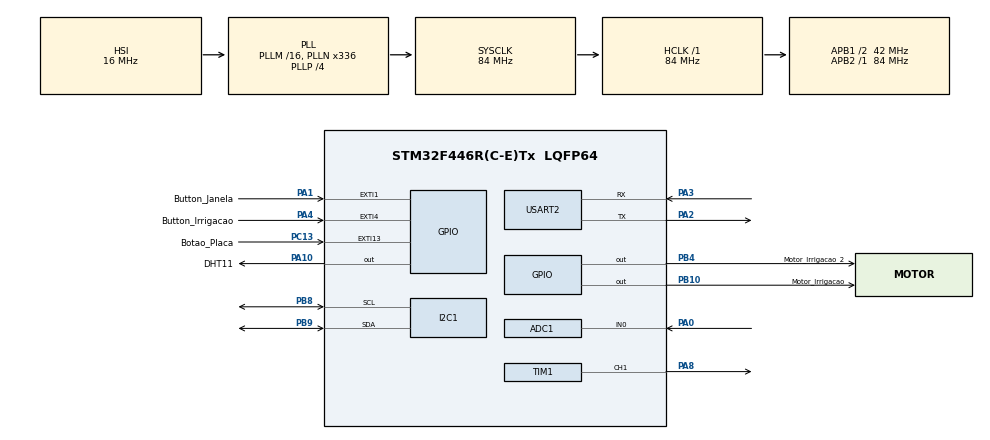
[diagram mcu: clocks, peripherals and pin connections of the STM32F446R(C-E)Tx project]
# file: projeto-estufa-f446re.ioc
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ADC1.Channel-0\#ChannelRegularConversion=ADC_CHANNEL_0
ADC1.ContinuousConvMode=DISABLE
ADC1.NbrOfConversionFlag=1
ADC1.Rank-0\#ChannelRegularConversion=1
ADC1.Resolution=ADC_RESOLUTION_8B
ADC1.SamplingTime-0\#ChannelRegularConversion=ADC_SAMPLETIME_3CYCLES
ADC1.master=1
I2C1.I2C_Mode=I2C_Fast
Mcu.Family=STM32F4
Mcu.Name=STM32F446R(C-E)Tx
Mcu.Package=LQFP64
NVIC.EXTI15_10_IRQn=true\:0\:0\:false\:false\:true\:true\:true\:true
NVIC.EXTI1_IRQn=true\:0\:0\:false\:false\:true\:true\:true\:true
NVIC.EXTI4_IRQn=true\:0\:0\:false\:false\:true\:true\:true\:true
NVIC.PriorityGroup=NVIC_PRIORITYGROUP_0
NVIC.TIM7_IRQn=true\:0\:0\:false\:false\:true\:true\:true\:true
NVIC.TIM8_TRG_COM_TIM14_IRQn=true\:0\:0\:false\:false\:true\:true\:true\:true
PA0-WKUP.Signal=ADCx_IN0
PA1.GPIO_Label=Button_Janela
PA1.GPIO_PuPd=GPIO_PULLUP
PA1.Signal=GPXTI1
PA10.GPIO_Label=DHT11
PA10.GPIO_Speed=GPIO_SPEED_FREQ_VERY_HIGH
PA10.PinState=GPIO_PIN_SET
PA10.Signal=GPIO_Output
PA13.GPIO_Label=TMS
PA13.Signal=SYS_JTMS-SWDIO
PA14.GPIO_Label=TCK
PA14.Signal=SYS_JTCK-SWCLK
PA2.Mode=Asynchronous
PA2.Signal=USART2_TX
PA3.Mode=Asynchronous
PA3.Signal=USART2_RX
PA4.GPIO_Label=Button_Irrigacao
PA4.GPIO_ModeDefaultEXTI=GPIO_MODE_IT_RISING
PA4.GPIO_PuPd=GPIO_PULLUP
PA4.Signal=GPXTI4
PA8.Signal=S_TIM1_CH1
PB10.GPIO_Label=Motor_Irrigacao
PB10.GPIO_ModeDefaultOutputPP=GPIO_MODE_OUTPUT_PP
PB10.GPIO_PuPd=GPIO_NOPULL
PB10.GPIO_Speed=GPIO_SPEED_FREQ_LOW
PB10.PinState=GPIO_PIN_SET
PB10.Signal=GPIO_Output
PB3.GPIO_Label=SWO
PB3.Signal=SYS_JTDO-SWO
PB4.GPIO_Label=Motor_Irrigacao_2
PB4.GPIO_PuPd=GPIO_NOPULL
PB4.PinState=GPIO_PIN_SET
PB4.Signal=GPIO_Output
PB8.Mode=I2C
PB8.Signal=I2C1_SCL
PB9.Mode=I2C
PB9.Signal=I2C1_SDA
PC13.GPIO_Label=Botao_Placa
PC13.GPIO_PuPd=GPIO_PULLUP
PC13.Signal=GPXTI13
PC14-OSC32_IN.Signal=RCC_OSC32_IN
PC15-OSC32_OUT.Signal=RCC_OSC32_OUT
PH0-OSC_IN.Signal=RCC_OSC_IN
PH1-OSC_OUT.Signal=RCC_OSC_OUT
ProjectManager.HeapSize=0x200
ProjectManager.StackSize=0x400
ProjectManager.TargetToolchain=STM32CubeIDE
RCC.AHBFreq_Value=84000000
RCC.APB1CLKDivider=RCC_HCLK_DIV2
RCC.APB1Freq_Value=42000000
RCC.APB1TimFreq_Value=84000000
RCC.APB2Freq_Value=84000000
RCC.APB2TimFreq_Value=84000000
RCC.CortexFreq_Value=84000000
RCC.FLatency-AdvancedSettings=FLASH_LATENCY_2
RCC.HCLKFreq_Value=84000000
RCC.HSE_VALUE=8000000
RCC.HSI_VALUE=16000000
RCC.LSE_VALUE=32768
RCC.PLLN=336
RCC.PLLP=RCC_PLLP_DIV4
RCC.SYSCLKFreq_VALUE=84000000
RCC.SYSCLKSource=RCC_SYSCLKSOURCE_PLLCLK
RCC.USBFreq_Value=168000000
RCC.VCOOutputFreq_Value=336000000
SH.ADCx_IN0.0=ADC1_IN0,IN0
SH.S_TIM1_CH1.0=TIM1_CH1,PWM Generation1 CH1
TIM1.Channel-PWM\ Generation1\ CH1=TIM_CHANNEL_1
TIM1.CounterMode=TIM_COUNTERMODE_UP
TIM1.Period=20000-1
TIM1.Prescaler=84-1
TIM14.Period=1000-1
TIM14.Prescaler=84-1
TIM7.Period=8000-1
TIM7.Prescaler=42000-1
USART2.VirtualMode=VM_ASYNC
VP_TIM14_VS_ClockSourceINT.Mode=Enable_Timer
VP_TIM1_VS_ClockSourceINT.Mode=Internal
VP_TIM7_VS_ClockSourceINT.Mode=Enable_Timer
board=NUCLEO-F446RE

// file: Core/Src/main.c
/* USER CODE BEGIN Header */
/**
  ******************************************************************************
  * @file           : main.c
  * @brief          : Main program body
  ******************************************************************************
  * @attention
  *
  * Copyright (c) 2024 STMicroelectronics.
  * All rights reserved.
  *
  * This software is licensed under terms that can be found in the LICENSE file
  * in the root directory of this software component.
  * If no LICENSE file comes with this software, it is provided AS-IS.
  *
  ******************************************************************************
  */
/* USER CODE END Header */
#include "main.h"

/* USER CODE BEGIN Includes */
#include "DHT.h"
#include "stdio.h"
#include "string.h"
#include "TSL2561.h"
#include <ssd1306.h>
#include <ssd1306_fonts.h>

/* USER CODE END Includes */

/* USER CODE BEGIN PD */
#define TSL2561_ADDR 0x39
/* USER CODE END PD */

ADC_HandleTypeDef hadc1;

I2C_HandleTypeDef hi2c1;

TIM_HandleTypeDef htim1;
TIM_HandleTypeDef htim7;
TIM_HandleTypeDef htim14;

UART_HandleTypeDef huart2;

/* USER CODE BEGIN PV */
TSL2561 tslSensor;
DHT_DataTypedef DHT11_Data;

float temperatura, umidade, luminosidade;
uint8_t flag_janela = 0; // Flag que permite o controle manual da janela
int8_t flag_telas = 0; // Flag que controla a mudança de telas
int8_t flag_rele = 0; //
uint8_t flag_rele_ativar = 0; //
int8_t flag_atualizar_telas = 0; // Quando uma interrupção (temporizador ou botão) é chamada, esta flag permite atualizar os dados da tela

/* USER CODE END PV */

void SystemClock_Config(void);
static void MX_GPIO_Init(void);
static void MX_USART2_UART_Init(void);
static void MX_I2C1_Init(void);
static void MX_TIM7_Init(void);
static void MX_TIM1_Init(void);
static void MX_ADC1_Init(void);
static void MX_TIM14_Init(void);
/* USER CODE BEGIN PFP */

void tela_controle_janela(void);
void tela_controle_irrigacao(void);
void tela_dados(void);
void tela_menu(void);

/* USER CODE END PFP */

/* USER CODE BEGIN 0 */

/* Callback para a interrupção do temporizador TIM7 */
void HAL_TIM_PeriodElapsedCallback(TIM_HandleTypeDef *htim) {

	static int posicao_janela = 1000;

	if (htim->Instance == TIM7)
	{
		uint16_t size;
		uint8_t Data[256];
		flag_atualizar_telas = 1;

		/*SENSOR DE LUMINOSIDADE BEGIN*/

		/*Testa se o Sensor de Luminosidade estar disponível*/
		HAL_I2C_IsDeviceReady(&hi2c1, TSL2561_ADDR, 5, HAL_MAX_DELAY);
		/* Recebe o valor medido em Lux  */
		if (TSL2561_GetLux(&tslSensor, &luminosidade) == HAL_OK)
		{
			/* Mostra o valor se válido */
			size = sprintf((char *)Data, "Light: %u lux\n", (uint16_t)luminosidade);
			HAL_UART_Transmit(&huart2, (uint8_t*)Data, size, HAL_MAX_DELAY);
		}

		/*SENSOR DE LUMINOSIDADE END*/

		/*CONTROLE DE JANELA BEGIN*/

		if(!flag_janela) /*Testa se está em modo de controle automático*/
		{
			if(luminosidade<100) /*janela aberta 90°*/
			{
				for(;posicao_janela<2000;posicao_janela++)
				{
					__HAL_TIM_SET_COMPARE(&htim1, TIM_CHANNEL_1, posicao_janela);
					for(int i = 0; i <8000;i++);
				}
			}else if(luminosidade<300) /*janela para 45°*/
			{
				if(posicao_janela < 1500)
				{
					for(;posicao_janela<1500;posicao_janela++)
					{
						__HAL_TIM_SET_COMPARE(&htim1, TIM_CHANNEL_1, posicao_janela);
						for(int i = 0; i <8000;i++);
					}
				}
				else
				{
					for(;posicao_janela>1500;posicao_janela--)
					{
						__HAL_TIM_SET_COMPARE(&htim1, TIM_CHANNEL_1, posicao_janela);
						for(int i = 0; i <8000;i++);
					}
				}
			}else /*janela fechada*/
			{
				for(;posicao_janela>1000;posicao_janela--)
				{
					__HAL_TIM_SET_COMPARE(&htim1, TIM_CHANNEL_1, posicao_janela);
					for(int i = 0; i <8000;i++);
				}
			}
		}

		/*CONTROLE DE JANELA END*/

		/*SENSOR DE TEMPERATURA E UMIDADE BEGIN*/

	    DHT_GetData(&DHT11_Data);
	    temperatura = (float) DHT11_Data.Temperature /10.0;
	    umidade = (float) DHT11_Data.Humidity /10.0;

		/* Mostra o valor se válido */
		//size = sprintf((char *)Data, "Temp: %0.2f -- Umi: %0.2f\n", temperatura, umidade);
		//HAL_UART_Transmit(&huart2, (uint8_t*)Data, size, HAL_MAX_DELAY);

		/*SENSOR DE TEMPERATURA E UMIDADE END*/
	}
	if (htim->Instance == TIM14)
	{
		/*CONTROLE MANUAL DA JANELA START*/
		if(flag_janela)
		{
			uint8_t val_adc;
			HAL_ADC_Start(&hadc1); // start the adc
			HAL_ADC_PollForConversion(&hadc1, HAL_MAX_DELAY);
			val_adc = HAL_ADC_GetValue(&hadc1);
			HAL_ADC_Stop(&hadc1); // stop adc

			/*calcula a posição atual pelo potenciometro*/
			posicao_janela = 2000 - val_adc*1000/256;
			/*atualiza a posição da janela*/
			__HAL_TIM_SET_COMPARE(&htim1, TIM_CHANNEL_1, posicao_janela);
		}
		/*CONTROLE MANUAL DA JANELA END*/
	}

}

void HAL_GPIO_EXTI_Callback(uint16_t GPIO_Pin) {

	flag_atualizar_telas = 1;

	/*Botão para controle manual dos motores de irrigação*/
	if (GPIO_Pin == Button_Irrigacao_Pin) {
		flag_telas++;
		if (flag_telas >= 4){
			flag_telas = 0; // Tela Inicial
		}
	}

	/*Botão para ativar ou desativar a o controle manual da janela*/
	if (GPIO_Pin == Button_Janela_Pin) {
		flag_telas--;
		if (flag_telas < 0){
			flag_telas = 3; // Ultima tela
		}
	}

	if (GPIO_Pin == Botao_Placa_Pin) {
		if(flag_rele)
		{
			flag_rele_ativar++;
			if (flag_rele_ativar > 1){
				flag_rele_ativar = 0;
			}
		}
		if(flag_telas == 2)
		{
			uint8_t val_adc;
			HAL_ADC_Start(&hadc1);
			HAL_ADC_PollForConversion(&hadc1, HAL_MAX_DELAY);
			val_adc = HAL_ADC_GetValue(&hadc1);
			HAL_ADC_Stop(&hadc1);

			if(!flag_janela)
			{
				if(val_adc < 15) flag_janela = !flag_janela; // Verifica se o potênciometro esta na posição inicial
			}else flag_janela = !flag_janela;
		}

	}

}

/* USER CODE END 0 */

int main(void)
{

  /* MCU Configuration--------------------------------------------------------*/

  /* Reset of all peripherals, Initializes the Flash interface and the Systick. */
  HAL_Init();

  /* Configure the system clock */
  SystemClock_Config();

  /* Initialize all configured peripherals */
  MX_GPIO_Init();
  MX_USART2_UART_Init();
  MX_I2C1_Init();
  MX_TIM7_Init();
  MX_TIM1_Init();
  MX_ADC1_Init();
  MX_TIM14_Init();
  /* USER CODE BEGIN 2 */

  ssd1306_Init();

  HAL_TIM_PWM_Start(&htim1, TIM_CHANNEL_1);

  HAL_ADC_Start(&hadc1);

  TSL2561_Init(&tslSensor, &hi2c1, TSL2561_ADDR);

  HAL_TIM_Base_Start_IT(&htim7);
  HAL_TIM_Base_Start_IT(&htim14);

  tela_menu();
  /* USER CODE END 2 */

  /* Infinite loop */
  while (1)
  {

    /* USER CODE BEGIN 3 */
	//while(!flag_atualizar_telas) {} // Avança somente se alguma interrupção for chamada

	HAL_Delay(500);
	// Controle de telas
	switch (flag_telas) {
		case 0:
			tela_menu();
			flag_rele = 0; // So permite controle da irrigação na tela 3
			break;
		case 1:
			tela_dados();
			flag_rele = 0; // So permite controle da irrigação na tela 3
			break;
		case 2:
			tela_controle_janela();

			flag_rele = 0; // So permite controle da irrigação na tela 3
			// Controle manual da janela

			break;
		 case 3:
			tela_controle_irrigacao(); // Atualiza a tela do controle de irrigação
			flag_rele = 1; // Permite que ao ativar o botão da placa sejam ativados os reles

			// Quando botão da placa for pressionado, os relés são ligados/desligados dependendo do estado anterior
			if (flag_rele_ativar == 1){
				HAL_GPIO_TogglePin(Motor_Irrigacao_GPIO_Port, Motor_Irrigacao_Pin);
				HAL_GPIO_TogglePin(Motor_Irrigacao_2_GPIO_Port, Motor_Irrigacao_2_Pin);
				flag_rele_ativar = 0;
			}

		default:
			break;
	}
	flag_atualizar_telas = 0; // Impede que as telas fiquem atualizando sem parar
  }
  /* USER CODE END 3 */
}

void SystemClock_Config(void)
{
  RCC_OscInitTypeDef RCC_OscInitStruct = {0};
  RCC_ClkInitTypeDef RCC_ClkInitStruct = {0};

  /** Configure the main internal regulator output voltage
  */
  __HAL_RCC_PWR_CLK_ENABLE();
  __HAL_PWR_VOLTAGESCALING_CONFIG(PWR_REGULATOR_VOLTAGE_SCALE3);

  /** Initializes the RCC Oscillators according to the specified parameters
  * in the RCC_OscInitTypeDef structure.
  */
  RCC_OscInitStruct.OscillatorType = RCC_OSCILLATORTYPE_HSI;
  RCC_OscInitStruct.HSIState = RCC_HSI_ON;
  RCC_OscInitStruct.HSICalibrationValue = RCC_HSICALIBRATION_DEFAULT;
  RCC_OscInitStruct.PLL.PLLState = RCC_PLL_ON;
  RCC_OscInitStruct.PLL.PLLSource = RCC_PLLSOURCE_HSI;
  RCC_OscInitStruct.PLL.PLLM = 16;
  RCC_OscInitStruct.PLL.PLLN = 336;
  RCC_OscInitStruct.PLL.PLLP = RCC_PLLP_DIV4;
  RCC_OscInitStruct.PLL.PLLQ = 2;
  RCC_OscInitStruct.PLL.PLLR = 2;
  if (HAL_RCC_OscConfig(&RCC_OscInitStruct) != HAL_OK)
  {
    Error_Handler();
  }

  /** Initializes the CPU, AHB and APB buses clocks
  */
  RCC_ClkInitStruct.ClockType = RCC_CLOCKTYPE_HCLK|RCC_CLOCKTYPE_SYSCLK
                              |RCC_CLOCKTYPE_PCLK1|RCC_CLOCKTYPE_PCLK2;
  RCC_ClkInitStruct.SYSCLKSource = RCC_SYSCLKSOURCE_PLLCLK;
  RCC_ClkInitStruct.AHBCLKDivider = RCC_SYSCLK_DIV1;
  RCC_ClkInitStruct.APB1CLKDivider = RCC_HCLK_DIV2;
  RCC_ClkInitStruct.APB2CLKDivider = RCC_HCLK_DIV1;

  if (HAL_RCC_ClockConfig(&RCC_ClkInitStruct, FLASH_LATENCY_2) != HAL_OK)
  {
    Error_Handler();
  }
}

static void MX_ADC1_Init(void)
{

  ADC_ChannelConfTypeDef sConfig = {0};

  /** Configure the global features of the ADC (Clock, Resolution, Data Alignment and number of conversion)
  */
  hadc1.Instance = ADC1;
  hadc1.Init.ClockPrescaler = ADC_CLOCK_SYNC_PCLK_DIV4;
  hadc1.Init.Resolution = ADC_RESOLUTION_8B;
  hadc1.Init.ScanConvMode = DISABLE;
  hadc1.Init.ContinuousConvMode = DISABLE;
  hadc1.Init.DiscontinuousConvMode = DISABLE;
  hadc1.Init.ExternalTrigConvEdge = ADC_EXTERNALTRIGCONVEDGE_NONE;
  hadc1.Init.ExternalTrigConv = ADC_SOFTWARE_START;
  hadc1.Init.DataAlign = ADC_DATAALIGN_RIGHT;
  hadc1.Init.NbrOfConversion = 1;
  hadc1.Init.DMAContinuousRequests = DISABLE;
  hadc1.Init.EOCSelection = ADC_EOC_SINGLE_CONV;
  if (HAL_ADC_Init(&hadc1) != HAL_OK)
  {
    Error_Handler();
  }

  /** Configure for the selected ADC regular channel its corresponding rank in the sequencer and its sample time.
  */
  sConfig.Channel = ADC_CHANNEL_0;
  sConfig.Rank = 1;
  sConfig.SamplingTime = ADC_SAMPLETIME_3CYCLES;
  if (HAL_ADC_ConfigChannel(&hadc1, &sConfig) != HAL_OK)
  {
    Error_Handler();
  }

}

static void MX_I2C1_Init(void)
{

  hi2c1.Instance = I2C1;
  hi2c1.Init.ClockSpeed = 400000;
  hi2c1.Init.DutyCycle = I2C_DUTYCYCLE_2;
  hi2c1.Init.OwnAddress1 = 0;
  hi2c1.Init.AddressingMode = I2C_ADDRESSINGMODE_7BIT;
  hi2c1.Init.DualAddressMode = I2C_DUALADDRESS_DISABLE;
  hi2c1.Init.OwnAddress2 = 0;
  hi2c1.Init.GeneralCallMode = I2C_GENERALCALL_DISABLE;
  hi2c1.Init.NoStretchMode = I2C_NOSTRETCH_DISABLE;
  if (HAL_I2C_Init(&hi2c1) != HAL_OK)
  {
    Error_Handler();
  }

}

static void MX_TIM1_Init(void)
{

  TIM_ClockConfigTypeDef sClockSourceConfig = {0};
  TIM_MasterConfigTypeDef sMasterConfig = {0};
  TIM_OC_InitTypeDef sConfigOC = {0};
  TIM_BreakDeadTimeConfigTypeDef sBreakDeadTimeConfig = {0};

  htim1.Instance = TIM1;
  htim1.Init.Prescaler = 84-1;
  htim1.Init.CounterMode = TIM_COUNTERMODE_UP;
  htim1.Init.Period = 20000-1;
  htim1.Init.ClockDivision = TIM_CLOCKDIVISION_DIV1;
  htim1.Init.RepetitionCounter = 0;
  htim1.Init.AutoReloadPreload = TIM_AUTORELOAD_PRELOAD_DISABLE;
  if (HAL_TIM_Base_Init(&htim1) != HAL_OK)
  {
    Error_Handler();
  }
  sClockSourceConfig.ClockSource = TIM_CLOCKSOURCE_INTERNAL;
  if (HAL_TIM_ConfigClockSource(&htim1, &sClockSourceConfig) != HAL_OK)
  {
    Error_Handler();
  }
  if (HAL_TIM_PWM_Init(&htim1) != HAL_OK)
  {
    Error_Handler();
  }
  sMasterConfig.MasterOutputTrigger = TIM_TRGO_RESET;
  sMasterConfig.MasterSlaveMode = TIM_MASTERSLAVEMODE_DISABLE;
  if (HAL_TIMEx_MasterConfigSynchronization(&htim1, &sMasterConfig) != HAL_OK)
  {
    Error_Handler();
  }
  sConfigOC.OCMode = TIM_OCMODE_PWM1;
  sConfigOC.Pulse = 0;
  sConfigOC.OCPolarity = TIM_OCPOLARITY_HIGH;
  sConfigOC.OCNPolarity = TIM_OCNPOLARITY_HIGH;
  sConfigOC.OCFastMode = TIM_OCFAST_DISABLE;
  sConfigOC.OCIdleState = TIM_OCIDLESTATE_RESET;
  sConfigOC.OCNIdleState = TIM_OCNIDLESTATE_RESET;
  if (HAL_TIM_PWM_ConfigChannel(&htim1, &sConfigOC, TIM_CHANNEL_1) != HAL_OK)
  {
    Error_Handler();
  }
  sBreakDeadTimeConfig.OffStateRunMode = TIM_OSSR_DISABLE;
  sBreakDeadTimeConfig.OffStateIDLEMode = TIM_OSSI_DISABLE;
  sBreakDeadTimeConfig.LockLevel = TIM_LOCKLEVEL_OFF;
  sBreakDeadTimeConfig.DeadTime = 0;
  sBreakDeadTimeConfig.BreakState = TIM_BREAK_DISABLE;
  sBreakDeadTimeConfig.BreakPolarity = TIM_BREAKPOLARITY_HIGH;
  sBreakDeadTimeConfig.AutomaticOutput = TIM_AUTOMATICOUTPUT_DISABLE;
  if (HAL_TIMEx_ConfigBreakDeadTime(&htim1, &sBreakDeadTimeConfig) != HAL_OK)
  {
    Error_Handler();
  }
  HAL_TIM_MspPostInit(&htim1);

}

static void MX_TIM7_Init(void)
{

  TIM_MasterConfigTypeDef sMasterConfig = {0};

  htim7.Instance = TIM7;
  htim7.Init.Prescaler = 42000-1;
  htim7.Init.CounterMode = TIM_COUNTERMODE_UP;
  htim7.Init.Period = 8000-1;
  htim7.Init.AutoReloadPreload = TIM_AUTORELOAD_PRELOAD_DISABLE;
  if (HAL_TIM_Base_Init(&htim7) != HAL_OK)
  {
    Error_Handler();
  }
  sMasterConfig.MasterOutputTrigger = TIM_TRGO_RESET;
  sMasterConfig.MasterSlaveMode = TIM_MASTERSLAVEMODE_DISABLE;
  if (HAL_TIMEx_MasterConfigSynchronization(&htim7, &sMasterConfig) != HAL_OK)
  {
    Error_Handler();
  }

}

static void MX_TIM14_Init(void)
{

  htim14.Instance = TIM14;
  htim14.Init.Prescaler = 84-1;
  htim14.Init.CounterMode = TIM_COUNTERMODE_UP;
  htim14.Init.Period = 1000-1;
  htim14.Init.ClockDivision = TIM_CLOCKDIVISION_DIV1;
  htim14.Init.AutoReloadPreload = TIM_AUTORELOAD_PRELOAD_DISABLE;
  if (HAL_TIM_Base_Init(&htim14) != HAL_OK)
  {
    Error_Handler();
  }

}

static void MX_USART2_UART_Init(void)
{

  huart2.Instance = USART2;
  huart2.Init.BaudRate = 115200;
  huart2.Init.WordLength = UART_WORDLENGTH_8B;
  huart2.Init.StopBits = UART_STOPBITS_1;
  huart2.Init.Parity = UART_PARITY_NONE;
  huart2.Init.Mode = UART_MODE_TX_RX;
  huart2.Init.HwFlowCtl = UART_HWCONTROL_NONE;
  huart2.Init.OverSampling = UART_OVERSAMPLING_16;
  if (HAL_UART_Init(&huart2) != HAL_OK)
  {
    Error_Handler();
  }

}

static void MX_GPIO_Init(void)
{
  GPIO_InitTypeDef GPIO_InitStruct = {0};

  /* GPIO Ports Clock Enable */
  __HAL_RCC_GPIOC_CLK_ENABLE();
  __HAL_RCC_GPIOH_CLK_ENABLE();
  __HAL_RCC_GPIOA_CLK_ENABLE();
  __HAL_RCC_GPIOB_CLK_ENABLE();

  /*Configure GPIO pin Output Level */
  HAL_GPIO_WritePin(GPIOB, Motor_Irrigacao_Pin|Motor_Irrigacao_2_Pin, GPIO_PIN_SET);

  /*Configure GPIO pin Output Level */
  HAL_GPIO_WritePin(DHT11_GPIO_Port, DHT11_Pin, GPIO_PIN_SET);

  /*Configure GPIO pin : Botao_Placa_Pin */
  GPIO_InitStruct.Pin = Botao_Placa_Pin;
  GPIO_InitStruct.Mode = GPIO_MODE_IT_RISING;
  GPIO_InitStruct.Pull = GPIO_PULLUP;
  HAL_GPIO_Init(Botao_Placa_GPIO_Port, &GPIO_InitStruct);

  /*Configure GPIO pins : Button_Janela_Pin Button_Irrigacao_Pin */
  GPIO_InitStruct.Pin = Button_Janela_Pin|Button_Irrigacao_Pin;
  GPIO_InitStruct.Mode = GPIO_MODE_IT_RISING;
  GPIO_InitStruct.Pull = GPIO_PULLUP;
  HAL_GPIO_Init(GPIOA, &GPIO_InitStruct);

  /*Configure GPIO pins : Motor_Irrigacao_Pin Motor_Irrigacao_2_Pin */
  GPIO_InitStruct.Pin = Motor_Irrigacao_Pin|Motor_Irrigacao_2_Pin;
  GPIO_InitStruct.Mode = GPIO_MODE_OUTPUT_PP;
  GPIO_InitStruct.Pull = GPIO_NOPULL;
  GPIO_InitStruct.Speed = GPIO_SPEED_FREQ_LOW;
  HAL_GPIO_Init(GPIOB, &GPIO_InitStruct);

  /*Configure GPIO pin : DHT11_Pin */
  GPIO_InitStruct.Pin = DHT11_Pin;
  GPIO_InitStruct.Mode = GPIO_MODE_OUTPUT_PP;
  GPIO_InitStruct.Pull = GPIO_NOPULL;
  GPIO_InitStruct.Speed = GPIO_SPEED_FREQ_VERY_HIGH;
  HAL_GPIO_Init(DHT11_GPIO_Port, &GPIO_InitStruct);

  /* EXTI interrupt init*/
  HAL_NVIC_SetPriority(EXTI1_IRQn, 0, 0);
  HAL_NVIC_EnableIRQ(EXTI1_IRQn);

  HAL_NVIC_SetPriority(EXTI4_IRQn, 0, 0);
  HAL_NVIC_EnableIRQ(EXTI4_IRQn);

  HAL_NVIC_SetPriority(EXTI15_10_IRQn, 0, 0);
  HAL_NVIC_EnableIRQ(EXTI15_10_IRQn);

}

/* USER CODE BEGIN 4 */

void tela_controle_janela()
{

	ssd1306_Fill(Black);

	ssd1306_SetCursor(35, 5);

	ssd1306_WriteString("AutoEstufa", Font_6x8, White);

	ssd1306_DrawRectangle(0, 0, 127, 15, White);

	ssd1306_DrawRectangle(0, 17, 127, 63, White);

	ssd1306_SetCursor(10, 19);

	ssd1306_WriteString("Controle da janela ", Font_6x8, White);

	if(flag_janela)
	{
		ssd1306_SetCursor(35,40);

		ssd1306_WriteString("Ativado", Font_6x8, White);
	}else
	{

		ssd1306_SetCursor(35, 40);

		ssd1306_WriteString("Desativado", Font_6x8, White);
	}

	ssd1306_Line(67, 60, 96, 60, White);
	ssd1306_Line(67, 59, 96, 59, White);

	ssd1306_UpdateScreen();
}

void tela_controle_irrigacao()
{

	ssd1306_Fill(Black);

	ssd1306_SetCursor(35, 5);

	ssd1306_WriteString("AutoEstufa", Font_6x8, White);

	ssd1306_DrawRectangle(0, 0, 127, 15, White);

	ssd1306_DrawRectangle(0, 17, 127, 63, White);

	ssd1306_SetCursor(10, 19);

	ssd1306_WriteString("Controle da irrig ", Font_6x8, White);

	if(!HAL_GPIO_ReadPin(Motor_Irrigacao_GPIO_Port, Motor_Irrigacao_Pin))
	{
		ssd1306_SetCursor(35,40);

		ssd1306_WriteString("Ativado", Font_6x8, White);
	}else
	{

		ssd1306_SetCursor(35, 40);

		ssd1306_WriteString("Desativado", Font_6x8, White);
	}

	ssd1306_Line(99, 60, 123, 60, White);
	ssd1306_Line(99, 59, 123, 59, White);

	ssd1306_UpdateScreen();
}

void tela_dados()
{

	uint8_t string_dados[15] = {0};

	ssd1306_Fill(Black);

	ssd1306_SetCursor(35, 5);

	ssd1306_WriteString("AutoEstufa", Font_6x8, White);

	ssd1306_DrawRectangle(0, 0, 127, 15, White);

	ssd1306_DrawRectangle(0, 17, 127, 63, White);

	ssd1306_SetCursor(4, 19);

	sprintf(string_dados, "Temp.: %0.2f *C", temperatura);

	ssd1306_WriteString(string_dados, Font_6x8, White);

	ssd1306_SetCursor(4, 29);

	sprintf((char *)string_dados, "Umi. : %0.2f %", umidade);
	ssd1306_WriteString(string_dados, Font_6x8, White);

	ssd1306_SetCursor(4, 39);

	sprintf((char *)string_dados, "Lum. : %u lux",(uint8_t) luminosidade);
	ssd1306_WriteString(string_dados, Font_6x8, White);

	ssd1306_Line(35, 60, 64, 60, White);
	ssd1306_Line(35, 59, 64, 59, White);

	ssd1306_UpdateScreen();
}

void tela_menu()
{

	ssd1306_Fill(Black);

	ssd1306_SetCursor(35, 5);

	ssd1306_WriteString("AutoEstufa", Font_6x8, White);

	ssd1306_DrawRectangle(0, 0, 127, 15, White);

	ssd1306_DrawRectangle(0, 17, 127, 63, White);

	ssd1306_SetCursor(35, 19);

	ssd1306_WriteString("Bem vindo!", Font_6x8, White);

	ssd1306_SetCursor(10, 29);

	ssd1306_WriteString("Pressione qualquer", Font_6x8, White);

	ssd1306_SetCursor(45, 39);

	ssd1306_WriteString("botao!", Font_6x8, White);

	ssd1306_Line(3, 60, 32, 60, White);
	ssd1306_Line(3, 59, 32, 59, White);

	ssd1306_UpdateScreen();
}

/* USER CODE END 4 */

void Error_Handler(void)
{
  __disable_irq();
  while (1)
  {
  }
}
